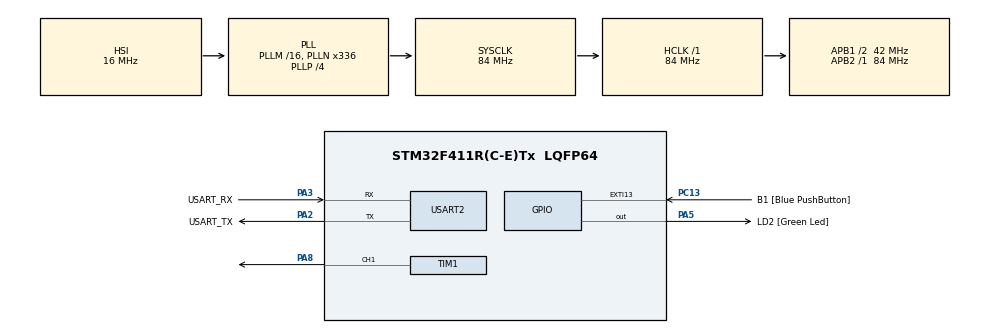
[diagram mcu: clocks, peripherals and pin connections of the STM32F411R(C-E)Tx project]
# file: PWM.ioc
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Dma.Request0=TIM1_CH1
Dma.TIM1_CH1.0.Direction=DMA_MEMORY_TO_PERIPH
Dma.TIM1_CH1.0.FIFOMode=DMA_FIFOMODE_DISABLE
Dma.TIM1_CH1.0.Instance=DMA2_Stream1
Dma.TIM1_CH1.0.MemDataAlignment=DMA_MDATAALIGN_HALFWORD
Dma.TIM1_CH1.0.MemInc=DMA_MINC_ENABLE
Dma.TIM1_CH1.0.Mode=DMA_NORMAL
Dma.TIM1_CH1.0.PeriphDataAlignment=DMA_PDATAALIGN_HALFWORD
Dma.TIM1_CH1.0.PeriphInc=DMA_PINC_DISABLE
Dma.TIM1_CH1.0.Priority=DMA_PRIORITY_LOW
Mcu.Family=STM32F4
Mcu.Name=STM32F411R(C-E)Tx
Mcu.Package=LQFP64
NVIC.DMA2_Stream1_IRQn=true\:0\:0\:false\:false\:true\:false\:true\:true
NVIC.EXTI15_10_IRQn=true\:0\:0\:false\:false\:true\:true\:true\:true
NVIC.PriorityGroup=NVIC_PRIORITYGROUP_0
PA13.GPIO_Label=TMS
PA13.Mode=Serial_Wire
PA13.Signal=SYS_JTMS-SWDIO
PA14.GPIO_Label=TCK
PA14.Mode=Serial_Wire
PA14.Signal=SYS_JTCK-SWCLK
PA2.GPIO_Label=USART_TX
PA2.Mode=Asynchronous
PA2.Signal=USART2_TX
PA3.GPIO_Label=USART_RX
PA3.Mode=Asynchronous
PA3.Signal=USART2_RX
PA5.GPIO_Label=LD2 [Green Led]
PA5.Signal=GPIO_Output
PA8.GPIO_ModeDefaultPP=GPIO_MODE_AF_PP
PA8.GPIO_PuPd=GPIO_NOPULL
PA8.GPIO_Speed=GPIO_SPEED_FREQ_LOW
PA8.Signal=S_TIM1_CH1
PB3.GPIO_Label=SWO
PB3.Signal=SYS_JTDO-SWO
PC13-ANTI_TAMP.GPIO_Label=B1 [Blue PushButton]
PC13-ANTI_TAMP.GPIO_ModeDefaultEXTI=GPIO_MODE_IT_FALLING
PC13-ANTI_TAMP.Signal=GPXTI13
PC14-OSC32_IN.Mode=LSE-External-Oscillator
PC14-OSC32_IN.Signal=RCC_OSC32_IN
PC15-OSC32_OUT.Mode=LSE-External-Oscillator
PC15-OSC32_OUT.Signal=RCC_OSC32_OUT
PH0\ -\ OSC_IN.Mode=HSE-External-Clock-Source
PH0\ -\ OSC_IN.Signal=RCC_OSC_IN
PH1\ -\ OSC_OUT.Mode=HSE-External-Clock-Source
PH1\ -\ OSC_OUT.Signal=RCC_OSC_OUT
ProjectManager.HeapSize=0x200
ProjectManager.StackSize=0x400
ProjectManager.TargetToolchain=STM32CubeIDE
RCC.48MHZClocksFreq_Value=84000000
RCC.AHBFreq_Value=84000000
RCC.APB1CLKDivider=RCC_HCLK_DIV2
RCC.APB1Freq_Value=42000000
RCC.APB1TimFreq_Value=84000000
RCC.APB2Freq_Value=84000000
RCC.APB2TimFreq_Value=84000000
RCC.CortexFreq_Value=84000000
RCC.FLatency-AdvancedSettings=FLASH_LATENCY_2
RCC.HCLKFreq_Value=84000000
RCC.HSE_VALUE=8000000
RCC.HSI_VALUE=16000000
RCC.PLLN=336
RCC.PLLP=RCC_PLLP_DIV4
RCC.SYSCLKFreq_VALUE=84000000
RCC.SYSCLKSource=RCC_SYSCLKSOURCE_PLLCLK
RCC.VCOOutputFreq_Value=336000000
SH.S_TIM1_CH1.0=TIM1_CH1,PWM Generation1 CH1
TIM1.Channel-PWM\ Generation1\ CH1=TIM_CHANNEL_1
TIM1.OCFastMode_PWM-PWM\ Generation1\ CH1=TIM_OCFAST_DISABLE
TIM1.OCMode_PWM-PWM\ Generation1\ CH1=TIM_OCMODE_PWM1
TIM1.Period=100-1
TIM1.Prescaler=84-1
USART2.VirtualMode=VM_ASYNC
VP_TIM1_VS_ClockSourceINT.Mode=Internal
board=NUCLEO-F411RE

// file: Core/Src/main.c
/* USER CODE BEGIN Header */
/**
 ******************************************************************************
 * @file           : main.c
 * @brief          : Main program body
 ******************************************************************************
 * @attention
 *
 * Copyright (c) 2024 STMicroelectronics.
 * All rights reserved.
 *
 * This software is licensed under terms that can be found in the LICENSE file
 * in the root directory of this software component.
 * If no LICENSE file comes with this software, it is provided AS-IS.
 *
 ******************************************************************************
 */
/* USER CODE END Header */
#include "main.h"

/* USER CODE BEGIN Includes */
#include <stdbool.h>
/* USER CODE END Includes */

TIM_HandleTypeDef htim1;
DMA_HandleTypeDef hdma_tim1_ch1;

UART_HandleTypeDef huart2;

void SystemClock_Config(void);
static void MX_GPIO_Init(void);
static void MX_DMA_Init(void);
static void MX_USART2_UART_Init(void);
static void MX_TIM1_Init(void);

/* USER CODE BEGIN 0 */
volatile bool sent = false;
volatile bool control = false;
uint16_t CCR1_1[] = {25};
uint16_t CCR1_2[] = {50};
/* USER CODE END 0 */

int main(void)
{

  /* MCU Configuration--------------------------------------------------------*/

  /* Reset of all peripherals, Initializes the Flash interface and the Systick. */
  HAL_Init();

  /* Configure the system clock */
  SystemClock_Config();

  /* Initialize all configured peripherals */
  MX_GPIO_Init();
  MX_DMA_Init();
  MX_USART2_UART_Init();
  MX_TIM1_Init();
  /* USER CODE BEGIN 2 */

  /* If you don't use DMA to update the CCR of the timer
  TIM1->CCR1 = 30;
  HAL_TIM_PWM_Start(&htim1, TIM_CHANNEL_1);
  */

  HAL_TIM_PWM_Start_DMA(&htim1, TIM_CHANNEL_1, (const uint32_t *)CCR1_1, 1);
  control = true;
  /* USER CODE END 2 */

  /* Infinite loop */
  while (1)
  {

  }
}

void SystemClock_Config(void)
{
  RCC_OscInitTypeDef RCC_OscInitStruct = {0};
  RCC_ClkInitTypeDef RCC_ClkInitStruct = {0};

  /** Configure the main internal regulator output voltage
  */
  __HAL_RCC_PWR_CLK_ENABLE();
  __HAL_PWR_VOLTAGESCALING_CONFIG(PWR_REGULATOR_VOLTAGE_SCALE1);

  /** Initializes the RCC Oscillators according to the specified parameters
  * in the RCC_OscInitTypeDef structure.
  */
  RCC_OscInitStruct.OscillatorType = RCC_OSCILLATORTYPE_HSI;
  RCC_OscInitStruct.HSIState = RCC_HSI_ON;
  RCC_OscInitStruct.HSICalibrationValue = RCC_HSICALIBRATION_DEFAULT;
  RCC_OscInitStruct.PLL.PLLState = RCC_PLL_ON;
  RCC_OscInitStruct.PLL.PLLSource = RCC_PLLSOURCE_HSI;
  RCC_OscInitStruct.PLL.PLLM = 16;
  RCC_OscInitStruct.PLL.PLLN = 336;
  RCC_OscInitStruct.PLL.PLLP = RCC_PLLP_DIV4;
  RCC_OscInitStruct.PLL.PLLQ = 4;
  if (HAL_RCC_OscConfig(&RCC_OscInitStruct) != HAL_OK)
  {
    Error_Handler();
  }

  /** Initializes the CPU, AHB and APB buses clocks
  */
  RCC_ClkInitStruct.ClockType = RCC_CLOCKTYPE_HCLK|RCC_CLOCKTYPE_SYSCLK
                              |RCC_CLOCKTYPE_PCLK1|RCC_CLOCKTYPE_PCLK2;
  RCC_ClkInitStruct.SYSCLKSource = RCC_SYSCLKSOURCE_PLLCLK;
  RCC_ClkInitStruct.AHBCLKDivider = RCC_SYSCLK_DIV1;
  RCC_ClkInitStruct.APB1CLKDivider = RCC_HCLK_DIV2;
  RCC_ClkInitStruct.APB2CLKDivider = RCC_HCLK_DIV1;

  if (HAL_RCC_ClockConfig(&RCC_ClkInitStruct, FLASH_LATENCY_2) != HAL_OK)
  {
    Error_Handler();
  }
}

static void MX_TIM1_Init(void)
{

  TIM_ClockConfigTypeDef sClockSourceConfig = {0};
  TIM_MasterConfigTypeDef sMasterConfig = {0};
  TIM_OC_InitTypeDef sConfigOC = {0};
  TIM_BreakDeadTimeConfigTypeDef sBreakDeadTimeConfig = {0};

  htim1.Instance = TIM1;
  htim1.Init.Prescaler = 84-1;
  htim1.Init.CounterMode = TIM_COUNTERMODE_UP;
  htim1.Init.Period = 100-1;
  htim1.Init.ClockDivision = TIM_CLOCKDIVISION_DIV1;
  htim1.Init.RepetitionCounter = 0;
  htim1.Init.AutoReloadPreload = TIM_AUTORELOAD_PRELOAD_DISABLE;
  if (HAL_TIM_Base_Init(&htim1) != HAL_OK)
  {
    Error_Handler();
  }
  sClockSourceConfig.ClockSource = TIM_CLOCKSOURCE_INTERNAL;
  if (HAL_TIM_ConfigClockSource(&htim1, &sClockSourceConfig) != HAL_OK)
  {
    Error_Handler();
  }
  if (HAL_TIM_PWM_Init(&htim1) != HAL_OK)
  {
    Error_Handler();
  }
  sMasterConfig.MasterOutputTrigger = TIM_TRGO_RESET;
  sMasterConfig.MasterSlaveMode = TIM_MASTERSLAVEMODE_DISABLE;
  if (HAL_TIMEx_MasterConfigSynchronization(&htim1, &sMasterConfig) != HAL_OK)
  {
    Error_Handler();
  }
  sConfigOC.OCMode = TIM_OCMODE_PWM1;
  sConfigOC.Pulse = 0;
  sConfigOC.OCPolarity = TIM_OCPOLARITY_HIGH;
  sConfigOC.OCNPolarity = TIM_OCNPOLARITY_HIGH;
  sConfigOC.OCFastMode = TIM_OCFAST_DISABLE;
  sConfigOC.OCIdleState = TIM_OCIDLESTATE_RESET;
  sConfigOC.OCNIdleState = TIM_OCNIDLESTATE_RESET;
  if (HAL_TIM_PWM_ConfigChannel(&htim1, &sConfigOC, TIM_CHANNEL_1) != HAL_OK)
  {
    Error_Handler();
  }
  sBreakDeadTimeConfig.OffStateRunMode = TIM_OSSR_DISABLE;
  sBreakDeadTimeConfig.OffStateIDLEMode = TIM_OSSI_DISABLE;
  sBreakDeadTimeConfig.LockLevel = TIM_LOCKLEVEL_OFF;
  sBreakDeadTimeConfig.DeadTime = 0;
  sBreakDeadTimeConfig.BreakState = TIM_BREAK_DISABLE;
  sBreakDeadTimeConfig.BreakPolarity = TIM_BREAKPOLARITY_HIGH;
  sBreakDeadTimeConfig.AutomaticOutput = TIM_AUTOMATICOUTPUT_DISABLE;
  if (HAL_TIMEx_ConfigBreakDeadTime(&htim1, &sBreakDeadTimeConfig) != HAL_OK)
  {
    Error_Handler();
  }
  HAL_TIM_MspPostInit(&htim1);

}

static void MX_USART2_UART_Init(void)
{

  huart2.Instance = USART2;
  huart2.Init.BaudRate = 115200;
  huart2.Init.WordLength = UART_WORDLENGTH_8B;
  huart2.Init.StopBits = UART_STOPBITS_1;
  huart2.Init.Parity = UART_PARITY_NONE;
  huart2.Init.Mode = UART_MODE_TX_RX;
  huart2.Init.HwFlowCtl = UART_HWCONTROL_NONE;
  huart2.Init.OverSampling = UART_OVERSAMPLING_16;
  if (HAL_UART_Init(&huart2) != HAL_OK)
  {
    Error_Handler();
  }

}

static void MX_DMA_Init(void)
{

  /* DMA controller clock enable */
  __HAL_RCC_DMA2_CLK_ENABLE();

  /* DMA interrupt init */
  /* DMA2_Stream1_IRQn interrupt configuration */
  HAL_NVIC_SetPriority(DMA2_Stream1_IRQn, 0, 0);
  HAL_NVIC_EnableIRQ(DMA2_Stream1_IRQn);

}

static void MX_GPIO_Init(void)
{
  GPIO_InitTypeDef GPIO_InitStruct = {0};

  /* GPIO Ports Clock Enable */
  __HAL_RCC_GPIOC_CLK_ENABLE();
  __HAL_RCC_GPIOH_CLK_ENABLE();
  __HAL_RCC_GPIOA_CLK_ENABLE();
  __HAL_RCC_GPIOB_CLK_ENABLE();

  /*Configure GPIO pin Output Level */
  HAL_GPIO_WritePin(LD2_GPIO_Port, LD2_Pin, GPIO_PIN_RESET);

  /*Configure GPIO pin : B1_Pin */
  GPIO_InitStruct.Pin = B1_Pin;
  GPIO_InitStruct.Mode = GPIO_MODE_IT_FALLING;
  GPIO_InitStruct.Pull = GPIO_NOPULL;
  HAL_GPIO_Init(B1_GPIO_Port, &GPIO_InitStruct);

  /*Configure GPIO pin : LD2_Pin */
  GPIO_InitStruct.Pin = LD2_Pin;
  GPIO_InitStruct.Mode = GPIO_MODE_OUTPUT_PP;
  GPIO_InitStruct.Pull = GPIO_NOPULL;
  GPIO_InitStruct.Speed = GPIO_SPEED_FREQ_LOW;
  HAL_GPIO_Init(LD2_GPIO_Port, &GPIO_InitStruct);

  /* EXTI interrupt init*/
  HAL_NVIC_SetPriority(EXTI15_10_IRQn, 0, 0);
  HAL_NVIC_EnableIRQ(EXTI15_10_IRQn);

}

/* USER CODE BEGIN 4 */
void HAL_TIM_PWM_PulseFinishedCallback(TIM_HandleTypeDef *htim)
{
  sent = !sent;
  control = false;
}

void HAL_GPIO_EXTI_Callback(uint16_t GPIO_Pin)
{
  if (GPIO_Pin == B1_Pin && !control)
  {
    HAL_TIM_PWM_Stop_DMA(&htim1, TIM_CHANNEL_1);
    if (sent)
    {
      HAL_TIM_PWM_Start_DMA(&htim1, TIM_CHANNEL_1, (const uint32_t *)CCR1_2, 1);
    }
    else
    {
      HAL_TIM_PWM_Start_DMA(&htim1, TIM_CHANNEL_1, (const uint32_t *)CCR1_1, 1);
    }
    control = true;
  }
}
/* USER CODE END 4 */

void Error_Handler(void)
{
  __disable_irq();
  while (1)
  {
  }
}
